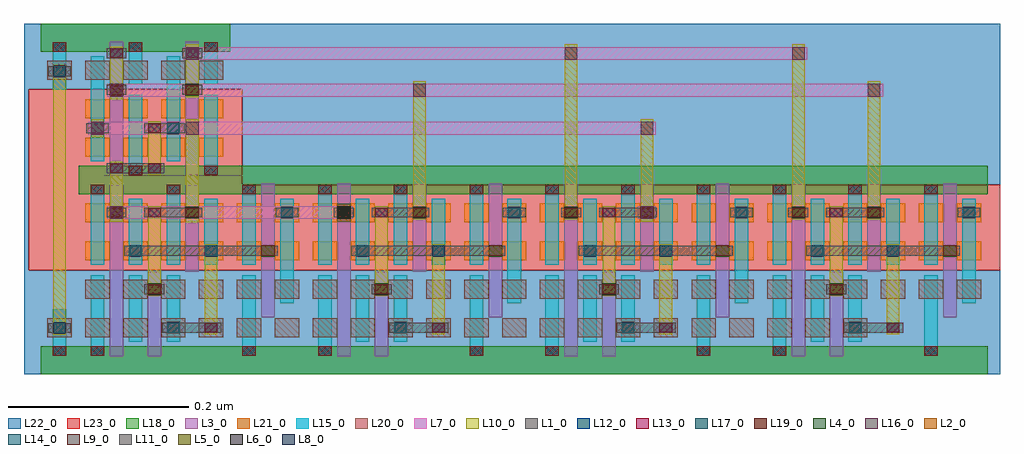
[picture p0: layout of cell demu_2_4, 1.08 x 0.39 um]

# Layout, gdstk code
from math import pi, radians
import gdstk
lib = gdstk.Library(unit=1e-6, precision=2.5e-10)
def R(c, l, rs):  # rectangles x0, y0, x1, y1
    for r in rs: c.add(gdstk.rectangle(r[:2], r[2:], *l))
def A(c, l, x, y, w, h, nx, ny, dx, dy):  # array of equal rectangles
    R(c, l, [(x+i*dx, y+j*dy, x+i*dx+w, y+j*dy+h) for i in range(nx) for j in range(ny)])
def P(c, l, *ps):  # polygons
    for p in ps: c.add(gdstk.Polygon(p, *l))
L1_0 = (1, 0)
L2_0 = (2, 0)
L3_0 = (3, 0)
L4_0 = (4, 0)
L5_0 = (5, 0)
L6_0 = (6, 0)
L7_0 = (7, 0)
L8_0 = (8, 0)
L9_0 = (9, 0)
L10_0 = (10, 0)
L11_0 = (11, 0)
L12_0 = (12, 0)
L13_0 = (13, 0)
L14_0 = (14, 0)
L15_0 = (15, 0)
L16_0 = (16, 0)
L17_0 = (17, 0)
L18_0 = (18, 0)
L19_0 = (19, 0)
L20_0 = (20, 0)
L21_0 = (21, 0)
L22_0 = (22, 0)
L23_0 = (23, 0)

inv_2 = lib.new_cell('inv_2')
R(inv_2, L1_0, [(-0.011,0.016,0.011,0.027), (0.0085,0.0585,0.0335,0.0695)])
R(inv_2, L2_0, [(-0.0075,0.016,0.0075,0.027)])
R(inv_2, L3_0, [(-0.0075,-0.032,0.0075,0.116)])
R(inv_2, L4_0, [(-0.0075,0.015,0.0075,0.028)])
R(inv_2, L14_0, [(0.0145,0.0585,0.0275,0.0695)])
R(inv_2, L15_0, [(-0.0285,-0.031,-0.0135,0.0155), (0.0135,-0.0155,0.0285,0.1005), (-0.0285,0.027,-0.0135,0.116)])
R(inv_2, L16_0, [(0.0145,0.0575,0.0275,0.0705)])
R(inv_2, L17_0, [(-0.0285,-0.031,-0.0135,-0.0205), (-0.0285,0.1055,-0.0135,0.116)])
R(inv_2, L18_0, [(-0.042,-0.052,0.0415,-0.0205), (-0.042,0.1055,0.0415,0.137)])
R(inv_2, L19_0, [(-0.0285,-0.031,-0.0135,-0.0205), (-0.0285,0.1055,-0.0135,0.116)])
R(inv_2, L20_0, [(-0.0345,-0.0105,-0.0075,0.0105), (0.0075,-0.0105,0.0345,0.0105)])
R(inv_2, L21_0, [(-0.0345,0.032,-0.0075,0.053), (0.0075,0.032,0.0345,0.053), (-0.0345,0.0745,-0.0075,0.0955), (0.0075,0.0745,0.0345,0.0955)])
R(inv_2, L22_0, [(-0.0555,-0.052,0.0555,0.021), (-0.0555,0.116,0.0135,0.1165)])
R(inv_2, L23_0, [(-0.0555,0.021,0.0555,0.116), (-0.0555,0.1165,0.0555,0.1265)])

and_2 = lib.new_cell('and_2')
R(and_2, L1_0, [(0.495,0.2225,0.5605,0.2335), (0.4755,0.265,0.4975,0.276), (0.453,0.3075,0.6235,0.3185), (0.4335,0.35,0.4555,0.361), (0.4755,0.35,0.5395,0.361), (0.621,0.35,0.646,0.361)])
R(and_2, L2_0, [(0.479,0.265,0.494,0.276), (0.605,0.3075,0.62,0.3185), (0.437,0.35,0.452,0.361), (0.521,0.35,0.536,0.361)])
R(and_2, L3_0, [(0.437,0.196,0.452,0.3865), (0.479,0.196,0.494,0.29), (0.605,0.2395,0.62,0.3875), (0.521,0.29,0.536,0.3865)])
R(and_2, L4_0, [(0.479,0.264,0.494,0.277), (0.605,0.3065,0.62,0.3195), (0.437,0.349,0.452,0.362), (0.521,0.349,0.536,0.362)])
R(and_2, L10_0, [(0.5425,0.2205,0.5565,0.3205), (0.4795,0.263,0.4935,0.3625)])
R(and_2, L12_0, [(0.5425,0.223,0.5565,0.233), (0.4795,0.2655,0.4935,0.2755), (0.5425,0.308,0.5565,0.318), (0.4795,0.35,0.4935,0.36)])
R(and_2, L13_0, [(0.5425,0.223,0.5565,0.233), (0.4795,0.2655,0.4935,0.2755), (0.5425,0.308,0.5565,0.318), (0.4795,0.35,0.4935,0.36)])
R(and_2, L14_0, [(0.501,0.2225,0.514,0.2335), (0.459,0.3075,0.472,0.3185), (0.543,0.3075,0.556,0.3185), (0.627,0.35,0.64,0.361)])
A(and_2, L15_0, 0.416, 0.2975, 0.015, 0.089, 3, 1, 0.084, 0)
R(and_2, L15_0, [(0.416,0.197,0.431,0.286), (0.584,0.197,0.599,0.286), (0.458,0.2125,0.473,0.286), (0.5,0.2125,0.515,0.286), (0.626,0.255,0.641,0.371), (0.458,0.2975,0.473,0.371), (0.542,0.2975,0.557,0.371)])
R(and_2, L16_0, [(0.501,0.2215,0.514,0.2345), (0.459,0.3065,0.472,0.3195), (0.543,0.3065,0.556,0.3195), (0.627,0.349,0.64,0.362)])
A(and_2, L17_0, 0.416, 0.376, 0.015, 0.0105, 3, 1, 0.084, 0)
R(and_2, L17_0, [(0.416,0.197,0.431,0.2075), (0.584,0.197,0.599,0.2075)])
R(and_2, L18_0, [(0.4025,0.176,0.6545,0.2075), (0.4025,0.376,0.6545,0.4075)])
A(and_2, L19_0, 0.416, 0.376, 0.015, 0.0105, 3, 1, 0.084, 0)
R(and_2, L19_0, [(0.416,0.197,0.431,0.2075), (0.584,0.197,0.599,0.2075)])
A(and_2, L20_0, 0.41, 0.2175, 0.027, 0.021, 3, 1, 0.042, 0)
A(and_2, L20_0, 0.41, 0.26, 0.027, 0.021, 6, 1, 0.042, 0)
R(and_2, L20_0, [(0.389,0.2175,0.395,0.2385)])
A(and_2, L21_0, 0.41, 0.3025, 0.027, 0.021, 6, 2, 0.042, 0.0425)
R(and_2, L22_0, [(0.389,0.176,0.668,0.2915)])
P(and_2, L22_0, [(0.668,0.4075),(0.668,0.3865),(0.584,0.3865),(0.584,0.3965),(0.431,0.3965),(0.431,0.397),(0.584,0.397),(0.584,0.4075)])
R(and_2, L23_0, [(0.389,0.2915,0.668,0.3865)])

demu_2_4 = lib.new_cell('demu_2_4')
A(demu_2_4, L1_0, 0.2535, 0.2025, 0.014, 0.011, 3, 1, 0.252, 0)
R(demu_2_4, L1_0, [(-0.0045,0.0745,0.0205,0.0855), (0.144,0.2025,0.166,0.2125), (1.0085,0.2025,1.0235,0.2135), (0.06,0.203,0.082,0.213), (0.312,0.203,0.334,0.213), (0.396,0.203,0.418,0.213), (0.564,0.203,0.586,0.213), (0.648,0.203,0.67,0.213), (0.816,0.203,0.838,0.213), (0.9,0.203,0.922,0.213), (0.06,0.2515,0.124,0.2625), (0.102,0.296,0.1465,0.307), (0.039,0.2965,0.061,0.3065), (0.06,0.3385,0.082,0.3485), (0.144,0.3385,0.166,0.3485), (-0.0045,0.359,0.0205,0.37), (0.06,0.379,0.082,0.39), (0.144,0.379,0.166,0.39)])
A(demu_2_4, L3_0, 0.1055, 0.0485, 0.015, 0.094, 4, 1, 0.252, 0)
A(demu_2_4, L3_0, 0.3155, 0.0485, 0.015, 0.1915, 3, 1, 0.252, 0)
A(demu_2_4, L3_0, 0.2315, 0.092, 0.015, 0.148, 4, 1, 0.252, 0)
A(demu_2_4, L3_0, 0.3995, 0.1425, 0.015, 0.0975, 3, 1, 0.252, 0)
R(demu_2_4, L3_0, [(0.0635,0.0485,0.0785,0.239), (0.1475,0.1425,0.1625,0.239), (0.0635,0.2495,0.0785,0.3975), (0.1475,0.2495,0.1625,0.3975)])
R(demu_2_4, L5_0, [(0.3155,0.198,0.3305,0.218)])
R(demu_2_4, L6_0, [(0.316,0.201,0.33,0.215)])
R(demu_2_4, L7_0, [(0.061,0.201,0.333,0.215), (0.649,0.201,0.669,0.215), (0.04,0.2945,0.669,0.3085), (0.061,0.3365,0.921,0.3505), (0.145,0.3775,0.837,0.3915)])
R(demu_2_4, L8_0, [(0.316,0.201,0.33,0.215)])
R(demu_2_4, L9_0, [(0.064,0.201,0.078,0.215), (0.316,0.201,0.33,0.215), (0.652,0.201,0.666,0.215), (0.043,0.2945,0.057,0.3085), (0.148,0.2945,0.162,0.3085), (0.652,0.2945,0.666,0.3085), (0.064,0.3365,0.078,0.3505), (0.4,0.3365,0.414,0.3505), (0.904,0.3365,0.918,0.3505), (0.148,0.3775,0.162,0.3915), (0.568,0.3775,0.582,0.3915), (0.82,0.3775,0.834,0.3915)])
R(demu_2_4, L10_0, [(0.001,0.0725,0.015,0.372), (0.148,0.1975,0.162,0.3115), (0.064,0.198,0.078,0.2645), (0.316,0.198,0.33,0.218), (0.652,0.198,0.666,0.3115), (0.4,0.2005,0.414,0.3535), (0.568,0.2005,0.582,0.3945), (0.82,0.2005,0.834,0.3945), (0.904,0.2005,0.918,0.3535), (0.106,0.2495,0.12,0.309), (0.043,0.2915,0.057,0.3115), (0.064,0.3335,0.078,0.392), (0.148,0.336,0.162,0.3945)])
R(demu_2_4, L11_0, [(0.064,0.201,0.078,0.215), (0.316,0.201,0.33,0.215), (0.652,0.201,0.666,0.215), (0.043,0.2945,0.057,0.3085), (0.148,0.2945,0.162,0.3085), (0.652,0.2945,0.666,0.3085), (0.064,0.3365,0.078,0.3505), (0.4,0.3365,0.414,0.3505), (0.904,0.3365,0.918,0.3505), (0.148,0.3775,0.162,0.3915), (0.568,0.3775,0.582,0.3915), (0.82,0.3775,0.834,0.3915)])
R(demu_2_4, L12_0, [(0.001,0.075,0.015,0.085), (0.148,0.2025,0.162,0.2125), (0.064,0.203,0.078,0.213), (0.316,0.203,0.33,0.213), (0.4,0.203,0.414,0.213), (0.568,0.203,0.582,0.213), (0.652,0.203,0.666,0.213), (0.82,0.203,0.834,0.213), (0.904,0.203,0.918,0.213), (0.064,0.252,0.078,0.262), (0.106,0.252,0.12,0.262), (0.043,0.2965,0.057,0.3065), (0.106,0.2965,0.12,0.3065), (0.064,0.3385,0.078,0.3485), (0.148,0.3385,0.162,0.3485), (0.001,0.3595,0.015,0.3695), (0.064,0.3795,0.078,0.3895), (0.148,0.3795,0.162,0.3895)])
R(demu_2_4, L13_0, [(0.001,0.075,0.015,0.085), (0.148,0.2025,0.162,0.2125), (0.064,0.203,0.078,0.213), (0.316,0.203,0.33,0.213), (0.4,0.203,0.414,0.213), (0.568,0.203,0.582,0.213), (0.652,0.203,0.666,0.213), (0.82,0.203,0.834,0.213), (0.904,0.203,0.918,0.213), (0.064,0.252,0.078,0.262), (0.106,0.252,0.12,0.262), (0.043,0.2965,0.057,0.3065), (0.106,0.2965,0.12,0.3065), (0.064,0.3385,0.078,0.3485), (0.148,0.3385,0.162,0.3485), (0.001,0.3595,0.015,0.3695), (0.064,0.3795,0.078,0.3895), (0.148,0.3795,0.162,0.3895)])
R(demu_2_4, L14_0, [(0.0015,0.0745,0.0145,0.0855), (0.0015,0.359,0.0145,0.37)])
R(demu_2_4, L15_0, [(0.0005,0.0495,0.0155,0.1005), (0.0005,0.344,0.0155,0.3965)])
R(demu_2_4, L16_0, [(0.0015,0.0735,0.0145,0.0865), (0.0015,0.358,0.0145,0.371)])
R(demu_2_4, L17_0, [(0.0005,0.0495,0.0155,0.06), (0.0005,0.386,0.0155,0.3965)])
R(demu_2_4, L18_0, [(-0.013,0.0285,0.029,0.06), (0.2445,0.2445,0.267,0.2575), (-0.013,0.386,0.0295,0.4175), (0.113,0.386,0.1135,0.4175), (0.076,0.4045,0.096,0.414)])
R(demu_2_4, L19_0, [(0.0005,0.0495,0.0155,0.06), (0.0005,0.386,0.0155,0.3965)])
A(demu_2_4, L20_0, -0.0055, 0.07, 0.021, 0.021, 4, 1, 0.252, 0)
A(demu_2_4, L20_0, 0.0365, 0.07, 0.027, 0.021, 5, 1, 0.042, 0)
A(demu_2_4, L20_0, 0.2885, 0.07, 0.027, 0.021, 5, 1, 0.042, 0)
A(demu_2_4, L20_0, 0.5405, 0.07, 0.027, 0.021, 5, 1, 0.042, 0)
A(demu_2_4, L20_0, 0.7925, 0.07, 0.027, 0.021, 3, 2, 0.042, 0.0425)
A(demu_2_4, L20_0, 0.0365, 0.1125, 0.027, 0.021, 3, 1, 0.042, 0)
A(demu_2_4, L20_0, 0.2885, 0.1125, 0.027, 0.021, 3, 1, 0.042, 0)
A(demu_2_4, L20_0, 0.5405, 0.1125, 0.027, 0.021, 3, 1, 0.042, 0)
R(demu_2_4, L20_0, [(-0.0055,0.355,0.0215,0.376)])
A(demu_2_4, L21_0, 0.0365, 0.155, 0.027, 0.021, 24, 2, 0.042, 0.0425)
A(demu_2_4, L21_0, 0.0365, 0.27, 0.027, 0.021, 4, 2, 0.042, 0.0425)
P(demu_2_4, L22_0, [(1.0505,0.4175),(1.0505,0.239),(0.2105,0.239),(0.2105,0.249),(0.0575,0.249),(0.0575,0.2495),(0.2105,0.2495),(0.2105,0.3445),(-0.0265,0.3445),(-0.0265,0.144),(1.0505,0.144),(1.0505,0.0285),(-0.0315,0.0285),(-0.0315,0.4175)])
P(demu_2_4, L23_0, [(0.0575,0.3445),(0.0575,0.249),(0.2105,0.249),(0.2105,0.239),(0.0155,0.239),(0.0155,0.144),(-0.0265,0.144),(-0.0265,0.3445)])
demu_2_4.add(gdstk.Reference(inv_2, (0.155,0.3655), rotation=pi))
demu_2_4.add(gdstk.Reference(inv_2, (0.071,0.3655), rotation=pi))
demu_2_4.add(gdstk.Reference(and_2, (-0.1215,-0.1475)))
demu_2_4.add(gdstk.Reference(and_2, (0.1305,-0.1475)))
demu_2_4.add(gdstk.Reference(and_2, (0.3825,-0.1475)))
demu_2_4.add(gdstk.Reference(and_2, (-0.3735,-0.1475)))

lib.write_gds('demu_2_4.gds')
